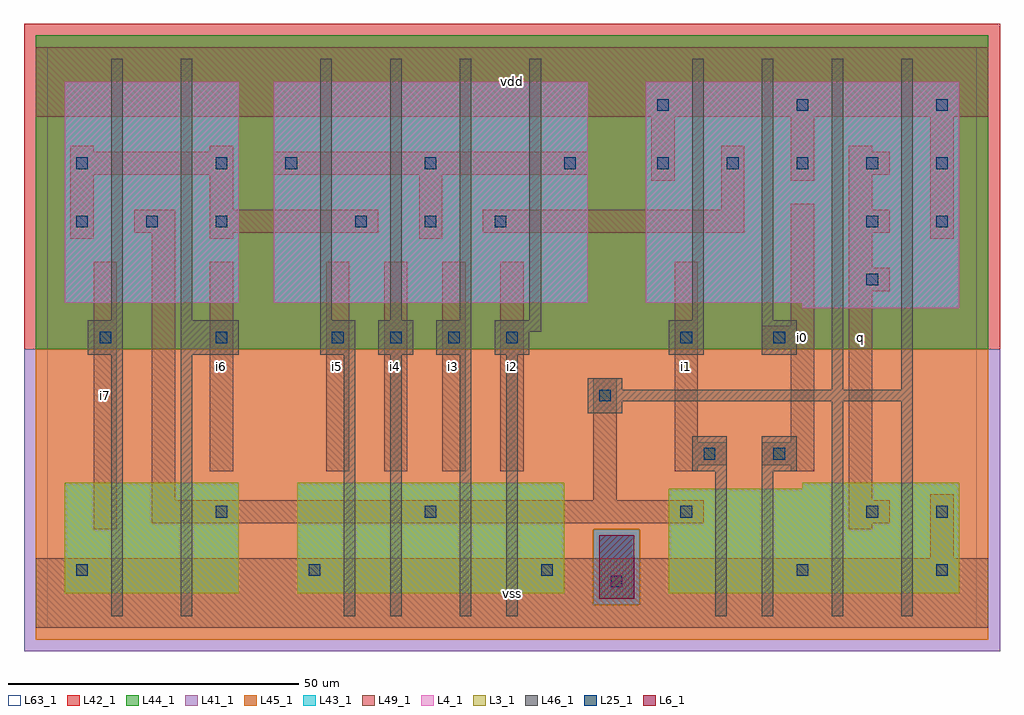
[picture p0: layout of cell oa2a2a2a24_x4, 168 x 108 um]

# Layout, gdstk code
import gdstk
lib = gdstk.Library(unit=1e-6, precision=1e-09)
def R(c, l, rs):  # rectangles x0, y0, x1, y1
    for r in rs: c.add(gdstk.rectangle(r[:2], r[2:], *l))
def A(c, l, x, y, w, h, nx, ny, dx, dy):  # array of equal rectangles
    R(c, l, [(x+i*dx, y+j*dy, x+i*dx+w, y+j*dy+h) for i in range(nx) for j in range(ny)])
L3_1 = (3, 1)
L4_1 = (4, 1)
L6_1 = (6, 1)
L25_1 = (25, 1)
L41_1 = (41, 1)
L42_1 = (42, 1)
L43_1 = (43, 1)
L44_1 = (44, 1)
L45_1 = (45, 1)
L46_1 = (46, 1)
L49_1 = (49, 1)
L63_1 = (63, 1)

oa2a2a2a24_x4 = lib.new_cell('oa2a2a2a24_x4')
R(oa2a2a2a24_x4, L3_1, [(3,6,33,25), (43,6,89,25), (107,6,157,24), (130,24,157,25)])
R(oa2a2a2a24_x4, L4_1, [(130,55,157,56), (3,56,33,94), (39,56,93,94), (103,56,157,94)])
R(oa2a2a2a24_x4, L6_1, [(95,5,101,16), (95,5,101,16)])
A(oa2a2a2a24_x4, L25_1, 5, 9, 2, 2, 3, 1, 40, 0)
A(oa2a2a2a24_x4, L25_1, 9, 49, 2, 2, 3, 1, 20, 0)
A(oa2a2a2a24_x4, L25_1, 59, 49, 2, 2, 3, 1, 10, 0)
A(oa2a2a2a24_x4, L25_1, 5, 69, 2, 2, 3, 1, 12, 0)
A(oa2a2a2a24_x4, L25_1, 53, 69, 2, 2, 3, 1, 12, 0)
A(oa2a2a2a24_x4, L25_1, 41, 79, 2, 2, 3, 1, 24, 0)
A(oa2a2a2a24_x4, L25_1, 105, 79, 2, 2, 5, 1, 12, 0)
A(oa2a2a2a24_x4, L25_1, 105, 89, 2, 2, 3, 1, 24, 0)
R(oa2a2a2a24_x4, L25_1, [(97,7,99,9), (129,9,131,11), (153,9,155,11), (29,19,31,21), (65,19,67,21), (109,19,111,21), (141,19,143,21), (153,19,155,21), (113,29,115,31), (125,29,127,31), (95,39,97,41), (109,49,111,51), (125,49,127,51), (141,59,143,61), (141,69,143,71), (153,69,155,71), (5,79,7,81), (29,79,31,81)])
R(oa2a2a2a24_x4, L41_1, [(-4,-4,164,48)])
R(oa2a2a2a24_x4, L42_1, [(-4,48,164,104)])
R(oa2a2a2a24_x4, L43_1, [(95,5,101,16), (3,6,33,25), (43,6,89,25), (107,6,157,24), (130,24,157,25), (130,55,157,56), (3,56,33,94), (39,56,93,94), (103,56,157,94)])
R(oa2a2a2a24_x4, L44_1, [(94,4,102,17), (-2,48,162,102)])
R(oa2a2a2a24_x4, L45_1, [(-2,-2,162,4), (-2,4,94,17), (102,4,162,17), (-2,17,162,48)])
A(oa2a2a2a24_x4, L46_1, 47, 47, 6, 6, 3, 1, 10, 0)
A(oa2a2a2a24_x4, L46_1, 47, 53, 2, 45, 4, 1, 12, 0)
R(oa2a2a2a24_x4, L46_1, [(11,2,13,47), (23,2,25,47), (51,2,53,47), (59,2,61,47), (71,2,73,47), (79,2,81,47), (115,2,117,27), (123,2,125,27), (135,2,137,39), (147,2,149,39), (111,27,117,33), (123,27,129,33), (93,37,99,39), (93,39,149,41), (93,41,99,43), (135,41,137,98), (147,41,149,98), (7,47,13,53), (23,47,33,53), (77,47,83,51), (107,47,113,53), (123,47,129,53), (77,51,85,53), (11,53,13,98), (23,53,25,98), (111,53,113,98), (123,53,125,98)])
A(oa2a2a2a24_x4, L49_1, 48, 27, 4, 36, 4, 1, 10, 0)
A(oa2a2a2a24_x4, L49_1, 138, 58, 7, 4, 1, 3, 0, 10)
R(oa2a2a2a24_x4, L49_1, [(-2,0,162,12), (152,12,156,23), (8,17,12,63), (138,17,142,18), (18,18,113,22), (138,18,145,22), (18,22,22,68), (94,22,98,43), (138,22,142,58), (28,27,32,63), (108,27,112,28), (128,27,132,28), (108,28,117,32), (123,28,132,32), (108,32,112,63), (128,32,132,48), (123,48,132,52), (128,52,132,73), (138,62,142,68), (4,67,8,78), (28,67,32,68), (64,67,68,78), (152,67,156,88), (15,68,22,72), (28,68,57,72), (75,68,120,72), (28,72,32,78), (116,72,120,83), (138,72,142,78), (104,77,108,88), (128,77,132,88), (4,78,32,82), (39,78,93,82), (4,82,8,83), (28,82,32,83), (138,82,142,83), (-2,88,162,100)])
R(oa2a2a2a24_x4, L63_1, [(0,0,160,100)])
oa2a2a2a24_x4.add(gdstk.Label('i7', (10,40), layer=49, texttype=1))
oa2a2a2a24_x4.add(gdstk.Label('i6', (30,45), layer=49, texttype=1))
oa2a2a2a24_x4.add(gdstk.Label('i5', (50,45), layer=49, texttype=1))
oa2a2a2a24_x4.add(gdstk.Label('i4', (60,45), layer=49, texttype=1))
oa2a2a2a24_x4.add(gdstk.Label('vss', (80,6), layer=49, texttype=1))
oa2a2a2a24_x4.add(gdstk.Label('i3', (70,45), layer=49, texttype=1))
oa2a2a2a24_x4.add(gdstk.Label('i2', (80,45), layer=49, texttype=1))
oa2a2a2a24_x4.add(gdstk.Label('vdd', (80,94), layer=49, texttype=1))
oa2a2a2a24_x4.add(gdstk.Label('i1', (110,45), layer=49, texttype=1))
oa2a2a2a24_x4.add(gdstk.Label('i0', (130,50), layer=49, texttype=1))
oa2a2a2a24_x4.add(gdstk.Label('q', (140,50), layer=49, texttype=1))

lib.write_gds('oa2a2a2a24_x4.gds')
